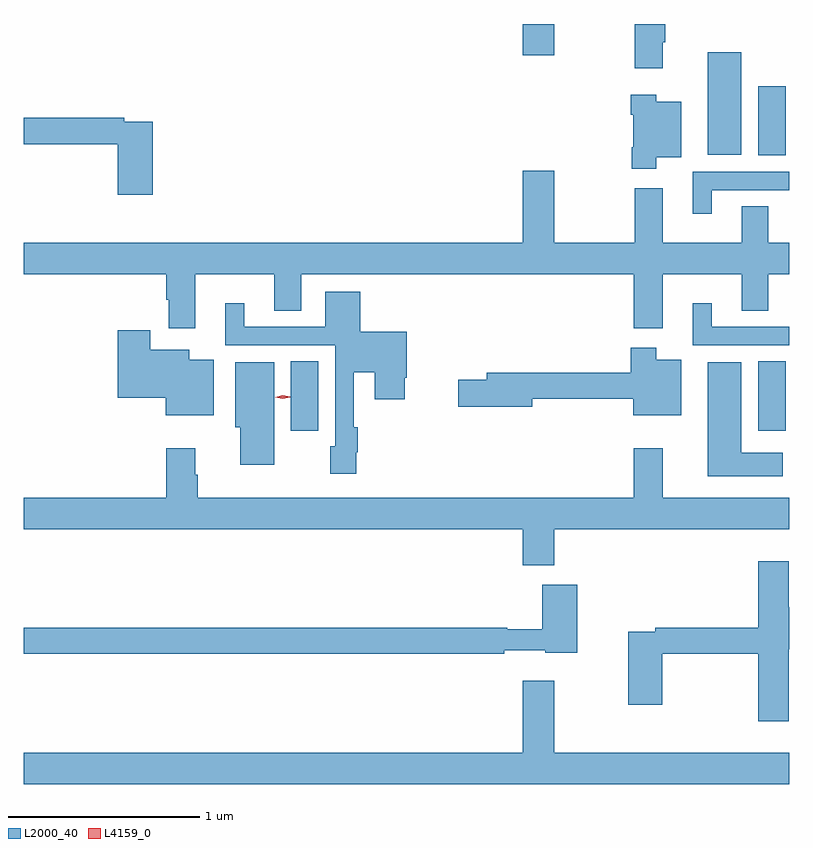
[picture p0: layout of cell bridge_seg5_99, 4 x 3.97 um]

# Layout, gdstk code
import gdstk
lib = gdstk.Library(unit=1e-6, precision=1e-09)
def R(c, l, rs):  # rectangles x0, y0, x1, y1
    for r in rs: c.add(gdstk.rectangle(r[:2], r[2:], *l))
def P(c, l, *ps):  # polygons
    for p in ps: c.add(gdstk.Polygon(p, *l))
L2000_40 = (2000, 40)
L4159_0 = (4159, 0)

bridge_seg5_99 = lib.new_cell('bridge_seg5_99')
R(bridge_seg5_99, L2000_40, [(619.34,894.57,619.483,894.932), (621.782,894.57,621.925,894.932), (621.782,896.008,621.925,896.371), (621.518,896.012,621.694,896.548), (620.552,896.532,620.716,896.695)])
P(bridge_seg5_99, L2000_40, [(621.283,896.6),(621.296,896.6),(621.296,896.695),(621.136,896.695),(621.136,896.463),(621.283,896.463)],
  [(621.25,896),(621.379,896),(621.379,896.29),(621.25,896.29),(621.25,896.326),(621.116,896.326),(621.116,896.222),(621.128,896.222),(621.128,896.05),(621.121,896.05),(621.121,895.938),(621.25,895.938)],
  [(618.617,896.184),(618.47,896.184),(618.47,896.204),(617.944,896.204),(617.944,896.068),(618.434,896.068),(618.434,895.803),(618.617,895.803)],
  [(618.841,895.388),(619.253,895.388),(619.253,895.198),(619.393,895.198),(619.393,895.388),(621.131,895.388),(621.131,895.104),(621.283,895.104),(621.283,895.388),(621.695,895.388),(621.695,895.198),(621.835,895.198),(621.835,895.388),(621.944,895.388),(621.944,895.552),(621.835,895.552),(621.835,895.742),(621.695,895.742),(621.695,895.552),(621.283,895.552),(621.283,895.837),(621.136,895.837),(621.136,895.552),(620.716,895.552),(620.716,895.927),(620.552,895.927),(620.552,895.552),(617.944,895.552),(617.944,895.388),(618.689,895.388),(618.689,895.254),(618.701,895.254),(618.701,895.104),(618.841,895.104)],
  [(621.538,895.827),(621.944,895.827),(621.944,895.923),(621.44,895.923),(621.44,895.704),(621.538,895.704)],
  [(619.681,894.457),(619.688,894.457),(619.688,894.589),(619.668,894.589),(619.668,894.875),(619.778,894.875),(619.778,894.735),(619.936,894.735),(619.936,894.847),(619.944,894.847),(619.944,895.087),(619.702,895.087),(619.702,895.297),(619.52,895.297),(619.52,895.113),(619.096,895.113),(619.096,895.237),(618.998,895.237),(618.998,895.017),(619.572,895.017),(619.572,894.489),(619.546,894.489),(619.546,894.345),(619.681,894.345)],
  [(621.944,895.113),(621.538,895.113),(621.538,895.237),(621.44,895.237),(621.44,895.017),(621.944,895.017)],
  [(618.937,894.94),(618.808,894.94),(618.808,894.994),(618.604,894.994),(618.604,895.096),(618.434,895.096),(618.434,894.743),(618.686,894.743),(618.686,894.65),(618.937,894.65)],
  [(621.379,894.94),(621.25,894.94),(621.25,895.003),(621.116,895.003),(621.116,894.872),(620.363,894.872),(620.363,894.836),(620.214,894.836),(620.214,894.694),(620.602,894.694),(620.602,894.736),(621.128,894.736),(621.128,894.65),(621.379,894.65)],
  [(619.252,894.928),(619.049,894.928),(619.049,894.588),(619.076,894.588),(619.076,894.392),(619.252,894.392)],
  [(621.91,894.454),(621.694,894.454),(621.694,894.928),(621.518,894.928),(621.518,894.332),(621.91,894.332)],
  [(620.716,894.056),(621.944,894.056),(621.944,894.22),(621.283,894.22),(621.283,894.478),(621.131,894.478),(621.131,894.22),(618.854,894.22),(618.854,894.341),(618.841,894.341),(618.841,894.478),(618.689,894.478),(618.689,894.22),(617.944,894.22),(617.944,894.056),(620.552,894.056),(620.552,893.868),(620.716,893.868)],
  [(621.94,893.427),(621.944,893.427),(621.944,893.648),(621.94,893.648),(621.94,893.887),(621.782,893.887),(621.782,893.54),(621.244,893.54),(621.244,893.52),(621.103,893.52),(621.103,893.139),(621.281,893.139),(621.281,893.404),(621.782,893.404),(621.782,893.052),(621.94,893.052)],
  [(620.456,893.423),(620.67,893.423),(620.67,893.411),(620.837,893.411),(620.837,893.764),(620.654,893.764),(620.654,893.533),(620.47,893.533),(620.47,893.54),(617.944,893.54),(617.944,893.404),(620.456,893.404)],
  [(621.944,892.888),(620.716,892.888),(620.716,893.263),(620.552,893.263),(620.552,892.888),(617.944,892.888),(617.944,892.724),(621.944,892.724)])
P(bridge_seg5_99, L4159_0, [(619.297,894.736),(619.257,894.746),(619.257,894.746),(619.257,894.746),(619.297,894.756),(619.337,894.747),(619.337,894.746),(619.337,894.746)])

lib.write_gds('bridge_seg5_99.gds')
